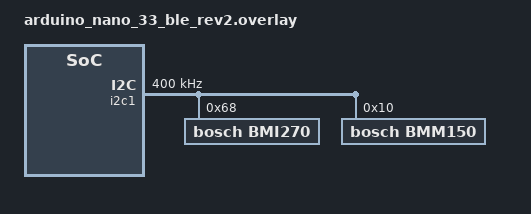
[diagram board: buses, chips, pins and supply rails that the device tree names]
/*
 * SPDX-FileCopyrightText: Copyright 2026 Loic Domaigne
 *
 * SPDX-License-Identifier: Apache-2.0
 */

#include <zephyr/dt-bindings/gpio/nordic-nrf-gpio.h>

/ {
	aliases {
		accel0 = &bmi270;
	};
};

/delete-node/ &lsm9ds1;
/delete-node/ &lsm9ds1_mag;

&i2c1 {
	clock-frequency = <I2C_BITRATE_FAST>;

	bmi270: bmi270@68 {
		compatible = "bosch,bmi270";
		reg = <0x68>;
	};

	bmm150: bmm150@10 {
		compatible = "bosch,bmm150";
		reg = <0x10>;
	};
};

&vdd_env {
	enable-gpios = <&gpio0 22 (GPIO_ACTIVE_HIGH | NRF_GPIO_DRIVE_H0H1)>;
};
